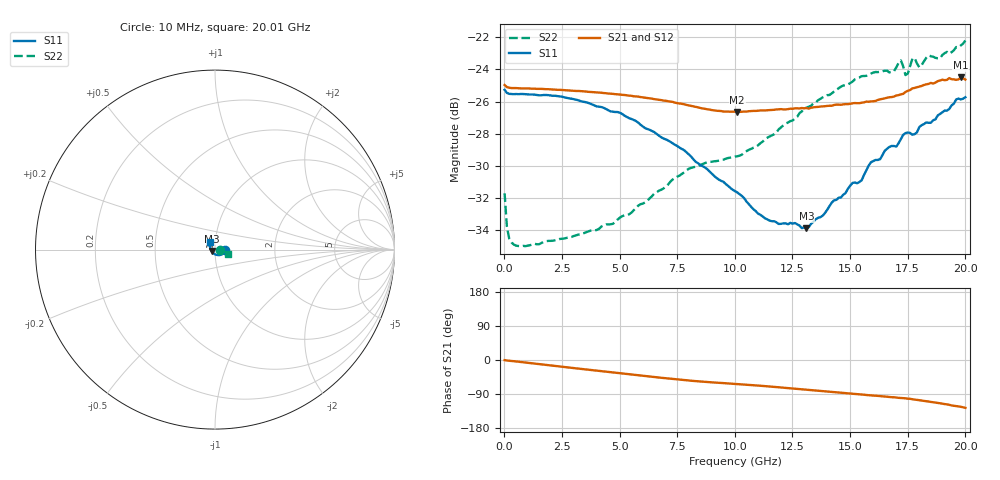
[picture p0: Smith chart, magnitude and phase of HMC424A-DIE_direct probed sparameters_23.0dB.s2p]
!s2p File: Measurements: S11, S21, S12, S22
# GHz S dB R 50.0
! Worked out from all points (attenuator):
!   201 points, 10 MHz to 20.01 GHz, reference 50 ohm
!   highest |S21| = -24.50 dB at 19.81 GHz (marker M1); lowest = -26.6 dB at 10.11 GHz (marker M2)
!   lowest |S11| = -33.9 dB at 13.11 GHz (marker M3), VSWR 1.04, Z = 48.2 - j0.744 ohm
!   |S11| at or under -10 dB: start of sweep to end of sweep
!   |S22| runs from -35.0 to -22.2 dB; largest |S21 - S12| = 0.00059
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0.01  -25.27 -0.3  -24.97 -0.3  -24.98 -0.3  -31.70 -3.8
0.11  -25.46 -1.5  -25.10 -1.3  -25.10 -1.3  -33.79 -9.5
0.41  -25.54 -2.9  -25.16 -3.2  -25.16 -3.2  -34.89 -3.5
3.41  -26.01 -23.6  -25.36 -24.1  -25.36 -24.1  -34.20 8.1
4.71  -26.63 -33.9  -25.52 -33.0  -25.52 -33.0  -33.60 11.0
6.71  -28.12 -51.0  -25.89 -46.3  -25.88 -46.3  -31.54 13.1
8.01  -29.29 -62.9  -26.24 -54.2  -26.24 -54.1  -30.17 9.6
10.01  -31.57 -90.1  -26.63 -63.0  -26.64 -63.0  -29.42 3.7
10.11  -31.65 -91.5  -26.64 -63.4  -26.64 -63.4  -29.40 3.9
11.31  -33.26 -115.3  -26.55 -68.9  -26.54 -68.9  -28.34 5.4
13.11  -33.88 -157.6  -26.40 -78.5  -26.39 -78.4  -26.38 0.8
13.41  -33.48 -164.9  -26.36 -79.6  -26.37 -79.6  -26.12 0.0
15.51  -30.89 156.7  -26.07 -91.1  -26.05 -90.9  -24.42 -10.3
15.91  -29.77 150.4  -25.99 -93.3  -26.00 -93.2  -24.26 -12.1
16.71  -28.82 140.3  -25.73 -97.5  -25.70 -97.5  -24.19 -16.4
17.21  -28.33 138.6  -25.55 -100.3  -25.50 -100.5  -23.44 -19.4
17.41  -27.96 135.5  -25.40 -101.1  -25.42 -101.6  -24.35 -20.3
17.71  -28.06 131.9  -25.18 -103.6  -25.23 -103.8  -23.33 -17.1
18.01  -27.58 130.6  -25.07 -106.2  -25.11 -106.0  -23.86 -19.6
18.41  -27.32 126.2  -24.90 -109.4  -24.93 -109.4  -23.13 -19.3
19.81  -25.87 124.2  -24.50 -123.4  -24.51 -123.4  -22.51 -19.7
20.01  -25.73 125.6  -24.63 -126.3  -24.61 -126.1  -22.20 -19.4
